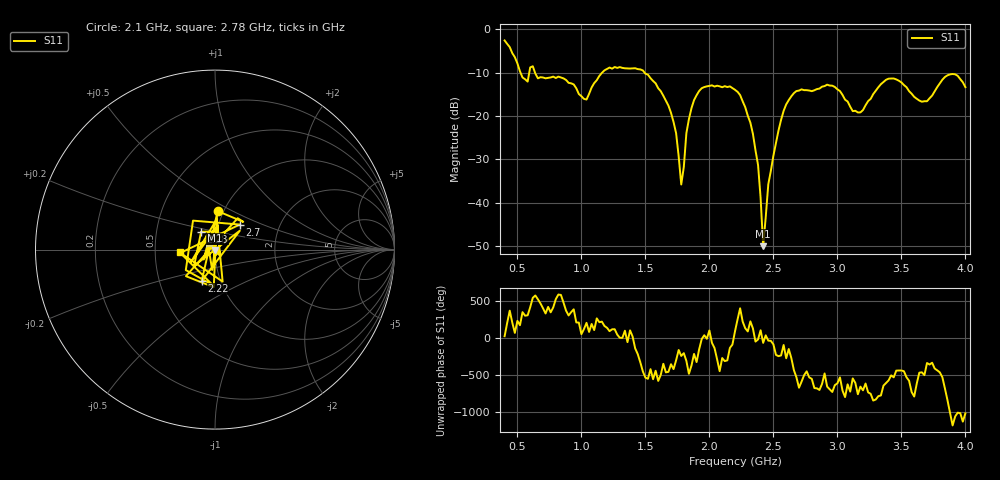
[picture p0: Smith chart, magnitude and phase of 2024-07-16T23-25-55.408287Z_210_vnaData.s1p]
!Created with skrf (http://scikit-rf.org).
# Hz S RI R 50.0
!freq ReS11 ImS11
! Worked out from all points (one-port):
!   181 points, 400 MHz to 4 GHz, reference 50 ohm
!   lowest |S11| = -50.0 dB at 2.42 GHz (marker M1), VSWR 1.01, Z = 50.1 - j0.295 ohm
!   |S11| at or under -10 dB: 524.1 MHz to 592.6 MHz (68.54 MHz wide, 12.3 % of centre); 637.7 MHz to 1.162 GHz (524.2 MHz wide, 58.3 % of centre); 1.494 GHz to end of sweep
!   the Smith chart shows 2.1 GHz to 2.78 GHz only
!   S11 on the Smith chart (normalised r, x): 2.1 GHz: 0.94, +0.42; 2.22 GHz: 0.81, -0.30; 2.28 GHz: 0.84, +0.17; 2.7 GHz: 1.26, +0.37; 2.78 GHz: 0.67, -0.02
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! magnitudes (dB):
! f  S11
! 400 MHz  -2.6
! 580 MHz  -12.1
! 620 MHz  -8.5
! 860 MHz  -11.3
! 1.04 GHz  -16.2
! 1.3 GHz  -8.7
! 1.58 GHz  -12.5
! 1.7 GHz  -19.3
! 1.76 GHz  -29.3
! 1.78 GHz  -35.8
! 1.84 GHz  -20.7
! 1.92 GHz  -14.2
! 2.1 GHz  -13.4
! 2.2 GHz  -14.0
! 2.22 GHz  -14.4
! 2.28 GHz  -18.0
! 2.38 GHz  -31.3
! 2.42 GHz  -50.0
! 2.46 GHz  -35.8
! 2.5 GHz  -29.2
! 2.66 GHz  -14.7
! 2.7 GHz  -14.1
! 2.78 GHz  -14.1
! 3.1 GHz  -17.9
! 3.4 GHz  -11.4
! 3.56 GHz  -14.3
! 3.9 GHz  -10.3
! 4 GHz  -13.4
